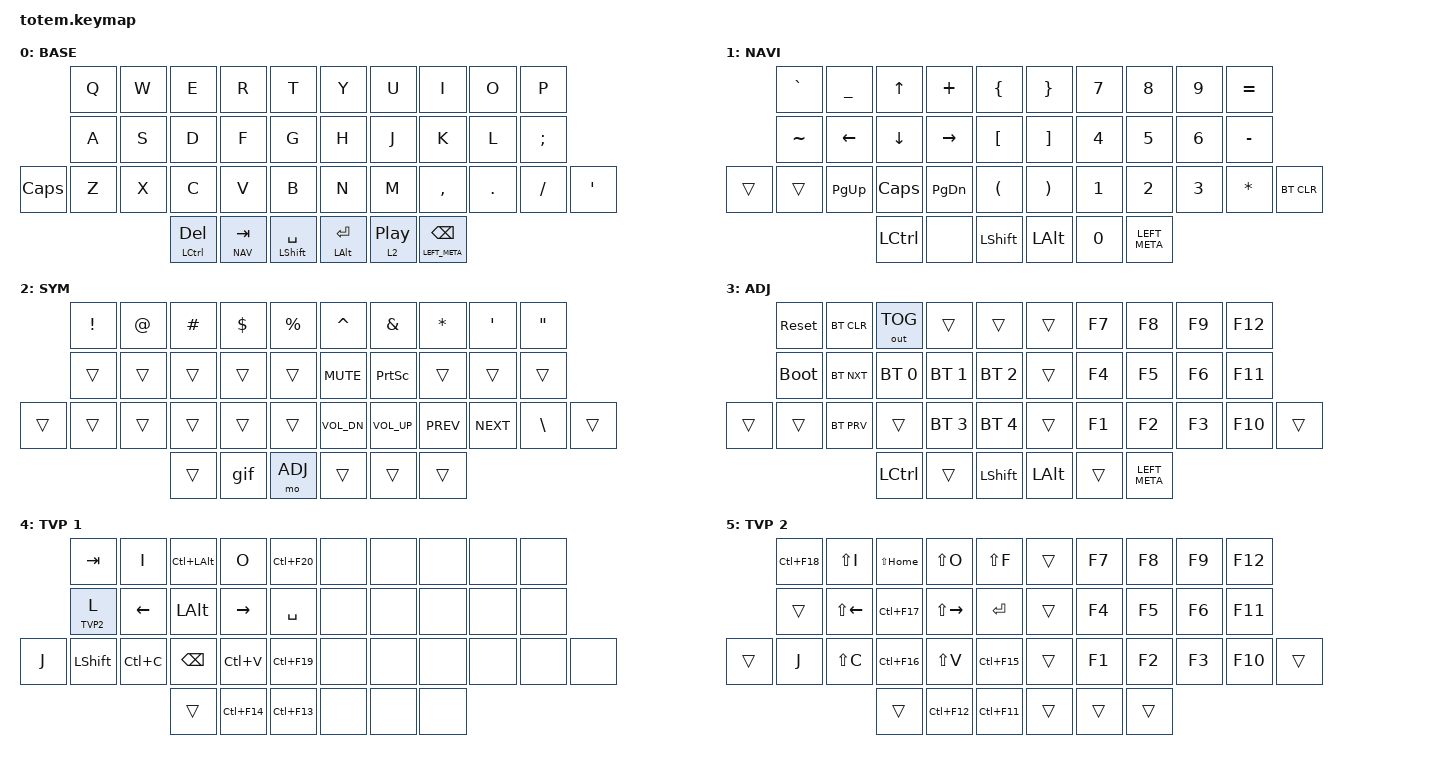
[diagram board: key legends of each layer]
//
//                                                        ▀▀▀▀▀     ▀▀▀▀▀          ▀▀█▀▀
//                                                        ▄▀▀▀▄  ▄  ▄▀▀▀▄  ▄  ▄▀▀▀▄  █  ▄▀▀▀▄
//                                                        █   █  █  █   █  █  █   █  █  █   █
//                                                         ▀▀▀   █   ▀▀▀   █   ▀▀▀   ▀   ▀▀▀
//                                                               █      ▄▄▄█▄▄▄    █   █  
//                                                               ▀      █  █  █     █▄█
//                                                             ▀▀▀▀▀    █  █  █      ▀
//                                                                      ▀  ▀  ▀
//
// ▄▄▄▄▄▄▄▄▄▄▄▄▄▄▄▄▄▄▄▄▄▄▄▄▄▄▄▄▄▄▄▄▄▄▄▄▄▄▄▄▄▄▄▄▄▄▄▄▄▄▄▄▄▄▄▄▄▄▄▄▄▄▄▄▄▄▄▄▄▄▄▄▄▄▄▄▄▄▄▄▄▄▄▄▄▄▄▄▄▄▄▄▄▄▄▄▄▄▄▄▄▄▄▄▄▄▄▄▄▄▄▄▄▄▄▄▄▄▄▄▄▄▄▄▄▄▄▄▄▄▄▄▄▄▄▄▄▄▄▄▄▄▄▄▄▄▄▄▄

#include <behaviors.dtsi>
#include <dt-bindings/zmk/bt.h>
#include <dt-bindings/zmk/keys.h>
#include <dt-bindings/zmk/outputs.h>

#define BASE 0
#define NAV  1
#define SYM  2
#define ADJ  3
#define TVP1 4
#define TVP2 5

&mt {
    quick-tap-ms = <100>;
    global-quick-tap;
    flavor = "tap-preferred";
    tapping-term-ms = <170>;
};

/ {
    combos {
        compatible = "zmk,combos";

        Return {
            bindings = <&kp RET>;
            key-positions = <16 17 18>;
        };
    };

    macros {
        gif: gif {
            label = "giphy";
            compatible = "zmk,behavior-macro";
            #binding-cells = <0>;
            bindings =
                <&macro_press>,
                <&kp LSHFT>,
                <&macro_tap>,
                <&kp N2>,
                <&macro_release>,
                <&kp LSHFT>,
                <&macro_tap>,
                <&kp G &kp I &kp F>;
        };
    };

    keymap {
        compatible = "zmk,keymap";

        // ▄▄▄▄▄▄▄▄▄▄▄▄▄▄▄▄▄▄▄▄▄▄▄▄▄▄▄▄▄▄▄▄▄▄▄▄▄▄▄▄▄▄▄▄▄▄▄▄▄▄▄▄▄▄▄▄▄▄▄▄▄▄▄▄▄▄▄▄▄▄▄▄▄▄▄▄▄▄▄▄▄▄▄▄▄▄▄▄▄▄▄▄▄▄▄▄▄▄▄▄▄▄▄▄▄▄▄▄▄▄▄▄▄▄▄▄▄▄▄▄▄▄▄▄▄▄▄▄▄▄▄▄▄▄▄▄▄▄▄▄▄▄▄▄▄▄▄▄▄

        base_layer {
            // ┏━━━━━━━━━━━━━━━━━━━━━━━━━━━━━━━━━━━━━━━┓

            label = "BASE";

            // ┗━━━━━━━━━━━━━━━━━━━━━━━━━━━━━━━━━━━━━━━┛
            //             ┏━━━━━━━━━━━┳━━━━━━━━━━━┳━━━━━━━━━━━┳━━━━━━━━━━━┳━━━━━━━━━━━┓   ┏━━━━━━━━━━━┳━━━━━━━━━━━┳━━━━━━━━━━━┳━━━━━━━━━━━┳━━━━━━━━━━━┓
            //             ┃     Q     ┃     W     ┃     F     ┃     P     ┃     G     ┃   ┃     J     ┃     L     ┃     U     ┃     Y     ┃     ;     ┃
            //             ┣━━━━━━━━━━━╋━━━━━━━━━━━╋━━━━━━━━━━━╋━━━━━━━━━━━╋━━━━━━━━━━━┫   ┣━━━━━━━━━━━╋━━━━━━━━━━━╋━━━━━━━━━━━╋━━━━━━━━━━━╋━━━━━━━━━━━┫
            //             ┃     A     ┃     R     ┃     S     ┃     T     ┃     D     ┃   ┃     H     ┃     N     ┃     E     ┃     I     ┃     O     ┃
            // ┏━━━━━━━━━━━╋━━━━━━━━━━━╋━━━━━━━━━━━╋━━━━━━━━━━━╋━━━━━━━━━━━╋━━━━━━━━━━━┫   ┣━━━━━━━━━━━╋━━━━━━━━━━━╋━━━━━━━━━━━╋━━━━━━━━━━━╋━━━━━━━━━━━╋━━━━━━━━━━━┓
            // ┃     Q     ┃     Z     ┃     X     ┃     C     ┃     V     ┃     B     ┃   ┃     K     ┃     M     ┃     ,     ┃     .     ┃     /     ┃     \     ┃
            // ┗━━━━━━━━━━━┻━━━━━━━━━━━┻━━━━━━━━━━━╋━━━━━━━━━━━╋━━━━━━━━━━━╋━━━━━━━━━━━┫   ┣━━━━━━━━━━━╋━━━━━━━━━━━╋━━━━━━━━━━━╋━━━━━━━━━━━┻━━━━━━━━━━━┻━━━━━━━━━━━┛
            //                                     ┃    DEL    ┃    TAB    ┃    SPC    ┃   ┃   ENTER   ┃           ┃   BSPC    ┃
            //                                     ┗━━━━━━━━━━━┻━━━━━━━━━━━┻━━━━━━━━━━━┛   ┗━━━━━━━━━━━┻━━━━━━━━━━━┻━━━━━━━━━━━┛

            bindings = <
              &kp Q  &kp W  &kp E             &kp R        &kp T              &kp Y                &kp U       &kp I                    &kp O    &kp P
              &kp A  &kp S  &kp D             &kp F        &kp G              &kp H                &kp J       &kp K                    &kp L    &kp SEMICOLON
&kp CAPSLOCK  &kp Z  &kp X  &kp C             &kp V        &kp B              &kp N                &kp M       &kp COMMA                &kp DOT  &kp FSLH       &kp SQT
                            &mt LCTRL DELETE  &lt NAV TAB  &mt LSHFT SPACE    &mt LEFT_ALT RETURN  &lt 2 C_PP  &mt LEFT_META BACKSPACE
            >;
        };

        // ▄▄▄▄▄▄▄▄▄▄▄▄▄▄▄▄▄▄▄▄▄▄▄▄▄▄▄▄▄▄▄▄▄▄▄▄▄▄▄▄▄▄▄▄▄▄▄▄▄▄▄▄▄▄▄▄▄▄▄▄▄▄▄▄▄▄▄▄▄▄▄▄▄▄▄▄▄▄▄▄▄▄▄▄▄▄▄▄▄▄▄▄▄▄▄▄▄▄▄▄▄▄▄▄▄▄▄▄▄▄▄▄▄▄▄▄▄▄▄▄▄▄▄▄▄▄▄▄▄▄▄▄▄▄▄▄▄▄▄▄▄▄▄▄▄▄▄▄▄

        nav_layer {
            // ┏━━━━━━━━━━━━━━━━━━━━━━━━━━━━━━━━━━━━━━━┓

            label = "NAVI";

            // ┗━━━━━━━━━━━━━━━━━━━━━━━━━━━━━━━━━━━━━━━┛
            //             ┏━━━━━━━━━━━┳━━━━━━━━━━━┳━━━━━━━━━━━┳━━━━━━━━━━━┳━━━━━━━━━━━┓   ┏━━━━━━━━━━━┳━━━━━━━━━━━┳━━━━━━━━━━━┳━━━━━━━━━━━┳━━━━━━━━━━━┓
            //             ┃           ┃           ┃     UP    ┃           ┃     {     ┃   ┃     }     ┃     7     ┃     8     ┃     9     ┃     +     ┃
            //             ┣━━━━━━━━━━━╋━━━━━━━━━━━╋━━━━━━━━━━━╋━━━━━━━━━━━╋━━━━━━━━━━━┫   ┣━━━━━━━━━━━╋━━━━━━━━━━━╋━━━━━━━━━━━╋━━━━━━━━━━━╋━━━━━━━━━━━┫
            //             ┃   SHIFT   ┃   LEFT    ┃    DOWN   ┃   RIGHT   ┃     [     ┃   ┃     ]     ┃     4     ┃     5     ┃     6     ┃     -     ┃
            // ┏━━━━━━━━━━━╋━━━━━━━━━━━╋━━━━━━━━━━━╋━━━━━━━━━━━╋━━━━━━━━━━━╋━━━━━━━━━━━┫   ┣━━━━━━━━━━━╋━━━━━━━━━━━╋━━━━━━━━━━━╋━━━━━━━━━━━╋━━━━━━━━━━━╋━━━━━━━━━━━┓
            // ┃           ┃           ┃   P UP    ┃  C LOCK   ┃  P DOWN   ┃     (     ┃   ┃     )     ┃     1     ┃     2     ┃     3     ┃     *     ┃           ┃
            // ┗━━━━━━━━━━━┻━━━━━━━━━━━┻━━━━━━━━━━━╋━━━━━━━━━━━╋━━━━━━━━━━━╋━━━━━━━━━━━┫   ┣━━━━━━━━━━━╋━━━━━━━━━━━╋━━━━━━━━━━━╋━━━━━━━━━━━┻━━━━━━━━━━━┻━━━━━━━━━━━┛
            //                                     ┃           ┃    TAB    ┃    SPC    ┃   ┃    DEL    ┃     0     ┃           ┃
            //                                     ┗━━━━━━━━━━━┻━━━━━━━━━━━┻━━━━━━━━━━━┛   ┗━━━━━━━━━━━┻━━━━━━━━━━━┻━━━━━━━━━━━┛

            bindings = <
        &kp GRAVE  &kp UNDERSCORE  &kp UP     &kp PLUS   &kp LEFT_BRACE          &kp RIGHT_BRACE        &kp N7        &kp N8         &kp N9        &kp EQUAL
        &kp TILDE  &kp LEFT        &kp DOWN   &kp RIGHT  &kp LEFT_BRACKET        &kp RIGHT_BRACKET      &kp NUMBER_4  &kp N5         &kp NUMBER_6  &kp MINUS
&trans  &trans     &kp PG_UP       &kp CAPS   &kp PG_DN  &kp LEFT_PARENTHESIS    &kp RIGHT_PARENTHESIS  &kp NUMBER_1  &kp NUMBER_2   &kp NUMBER_3  &kp ASTERISK  &bt BT_CLR
                                   &kp LCTRL  &none      &kp LEFT_SHIFT          &kp LEFT_ALT           &kp N0        &kp LEFT_META
            >;
        };

        // ▄▄▄▄▄▄▄▄▄▄▄▄▄▄▄▄▄▄▄▄▄▄▄▄▄▄▄▄▄▄▄▄▄▄▄▄▄▄▄▄▄▄▄▄▄▄▄▄▄▄▄▄▄▄▄▄▄▄▄▄▄▄▄▄▄▄▄▄▄▄▄▄▄▄▄▄▄▄▄▄▄▄▄▄▄▄▄▄▄▄▄▄▄▄▄▄▄▄▄▄▄▄▄▄▄▄▄▄▄▄▄▄▄▄▄▄▄▄▄▄▄▄▄▄▄▄▄▄▄▄▄▄▄▄▄▄▄▄▄▄▄▄▄▄▄▄▄▄▄

        sim_layer {
            // ┏━━━━━━━━━━━━━━━━━━━━━━━━━━━━━━━━━━━━━━━┓

            label = "SYM";

            // ┗━━━━━━━━━━━━━━━━━━━━━━━━━━━━━━━━━━━━━━━┛
            //             ┏━━━━━━━━━━━┳━━━━━━━━━━━┳━━━━━━━━━━━┳━━━━━━━━━━━┳━━━━━━━━━━━┓   ┏━━━━━━━━━━━┳━━━━━━━━━━━┳━━━━━━━━━━━┳━━━━━━━━━━━┳━━━━━━━━━━━┓
            //             ┃     !     ┃     @     ┃     #     ┃     $     ┃     %     ┃   ┃     ˆ     ┃     &     ┃     Ü     ┃     '     ┃     "     ┃
            //             ┣━━━━━━━━━━━╋━━━━━━━━━━━╋━━━━━━━━━━━╋━━━━━━━━━━━╋━━━━━━━━━━━┫   ┣━━━━━━━━━━━╋━━━━━━━━━━━╋━━━━━━━━━━━╋━━━━━━━━━━━╋━━━━━━━━━━━┫
            //             ┃     Ä     ┃           ┃    SZ     ┃           ┃           ┃   ┃   MUTE    ┃   YEN     ┃   EURO    ┃  POUND    ┃     Ö     ┃
            // ┏━━━━━━━━━━━╋━━━━━━━━━━━╋━━━━━━━━━━━╋━━━━━━━━━━━╋━━━━━━━━━━━╋━━━━━━━━━━━┫   ┣━━━━━━━━━━━╋━━━━━━━━━━━╋━━━━━━━━━━━╋━━━━━━━━━━━╋━━━━━━━━━━━╋━━━━━━━━━━━┓
            // ┃           ┃  EMAIL1   ┃  EMAIL2   ┃           ┃           ┃           ┃   ┃   VOL-    ┃   VOL+    ┃   LAST    ┃   NEXT    ┃     \     ┃           ┃
            // ┗━━━━━━━━━━━┻━━━━━━━━━━━┻━━━━━━━━━━━╋━━━━━━━━━━━╋━━━━━━━━━━━╋━━━━━━━━━━━┫   ┣━━━━━━━━━━━╋━━━━━━━━━━━╋━━━━━━━━━━━╋━━━━━━━━━━━┻━━━━━━━━━━━┻━━━━━━━━━━━┛
            //                                     ┃           ┃    GIF    ┃    ADJ    ┃   ┃           ┃           ┃           ┃
            //                                     ┗━━━━━━━━━━━┻━━━━━━━━━━━┻━━━━━━━━━━━┛   ┗━━━━━━━━━━━┻━━━━━━━━━━━┻━━━━━━━━━━━┛

            bindings = <
        &kp EXCL  &kp AT  &kp HASH  &kp DLLR  &kp PRCNT    &kp CARET     &kp AMPS      &kp ASTERISK  &kp SQT     &kp DQT
        &trans    &trans  &trans    &trans    &trans       &kp C_MUTE    &kp PSCRN     &trans        &trans      &trans
&trans  &trans    &trans  &trans    &trans    &trans       &kp C_VOL_DN  &kp C_VOL_UP  &kp C_PREV    &kp C_NEXT  &kp BSLH  &trans
                          &trans    &gif      &mo ADJ      &trans        &trans        &trans
            >;
        };

        // ▄▄▄▄▄▄▄▄▄▄▄▄▄▄▄▄▄▄▄▄▄▄▄▄▄▄▄▄▄▄▄▄▄▄▄▄▄▄▄▄▄▄▄▄▄▄▄▄▄▄▄▄▄▄▄▄▄▄▄▄▄▄▄▄▄▄▄▄▄▄▄▄▄▄▄▄▄▄▄▄▄▄▄▄▄▄▄▄▄▄▄▄▄▄▄▄▄▄▄▄▄▄▄▄▄▄▄▄▄▄▄▄▄▄▄▄▄▄▄▄▄▄▄▄▄▄▄▄▄▄▄▄▄▄▄▄▄▄▄▄▄▄▄▄▄▄▄▄▄

        adjust_layer {
            // ┏━━━━━━━━━━━━━━━━━━━━━━━━━━━━━━━━━━━━━━━┓

            label = "ADJ";

            // ┗━━━━━━━━━━━━━━━━━━━━━━━━━━━━━━━━━━━━━━━┛
            //             ┏━━━━━━━━━━━┳━━━━━━━━━━━┳━━━━━━━━━━━┳━━━━━━━━━━━┳━━━━━━━━━━━┓   ┏━━━━━━━━━━━┳━━━━━━━━━━━┳━━━━━━━━━━━┳━━━━━━━━━━━┳━━━━━━━━━━━┓
            //             ┃   RESET   ┃ BT CLEAR  ┃  OUT TOG  ┃           ┃           ┃   ┃           ┃    F7     ┃    F8     ┃    F9     ┃    F12    ┃
            //             ┣━━━━━━━━━━━╋━━━━━━━━━━━╋━━━━━━━━━━━╋━━━━━━━━━━━╋━━━━━━━━━━━┫   ┣━━━━━━━━━━━╋━━━━━━━━━━━╋━━━━━━━━━━━╋━━━━━━━━━━━╋━━━━━━━━━━━┫
            //             ┃ BOOTLOAD  ┃ BT NEXT   ┃           ┃           ┃           ┃   ┃           ┃    F4     ┃    F5     ┃    F6     ┃    F11    ┃
            // ┏━━━━━━━━━━━╋━━━━━━━━━━━╋━━━━━━━━━━━╋━━━━━━━━━━━╋━━━━━━━━━━━╋━━━━━━━━━━━┫   ┣━━━━━━━━━━━╋━━━━━━━━━━━╋━━━━━━━━━━━╋━━━━━━━━━━━╋━━━━━━━━━━━╋━━━━━━━━━━━┓
            // ┃           ┃           ┃ BT PREV   ┃           ┃           ┃           ┃   ┃           ┃    F1     ┃    F2     ┃    F3     ┃    F10    ┃           ┃
            // ┗━━━━━━━━━━━┻━━━━━━━━━━━┻━━━━━━━━━━━╋━━━━━━━━━━━╋━━━━━━━━━━━╋━━━━━━━━━━━┫   ┣━━━━━━━━━━━╋━━━━━━━━━━━╋━━━━━━━━━━━╋━━━━━━━━━━━┻━━━━━━━━━━━┻━━━━━━━━━━━┛
            //                                     ┃           ┃           ┃           ┃   ┃           ┃           ┃           ┃
            //                                     ┗━━━━━━━━━━━┻━━━━━━━━━━━┻━━━━━━━━━━━┛   ┗━━━━━━━━━━━┻━━━━━━━━━━━┻━━━━━━━━━━━┛

            bindings = <
        &sys_reset   &bt BT_CLR  &out OUT_TOG  &trans        &trans          &trans    &kp F7  &kp F8         &kp F9  &kp F12
        &bootloader  &bt BT_NXT  &bt BT_SEL 0  &bt BT_SEL 1  &bt BT_SEL 2    &trans    &kp F4  &kp F5         &kp F6  &kp F11
&trans  &trans       &bt BT_PRV  &trans        &bt BT_SEL 3  &bt BT_SEL 4    &trans    &kp F1  &kp F2         &kp F3  &kp F10  &trans
                                 &kp LCTRL     &trans        &kp LSHIFT      &kp LALT  &trans  &kp LEFT_META
            >;
        };

        // ▄▄▄▄▄▄▄▄▄▄▄▄▄▄▄▄▄▄▄▄▄▄▄▄▄▄▄▄▄▄▄▄▄▄▄▄▄▄▄▄▄▄▄▄▄▄▄▄▄▄▄▄▄▄▄▄▄▄▄▄▄▄▄▄▄▄▄▄▄▄▄▄▄▄▄▄▄▄▄▄▄▄▄▄▄▄▄▄▄▄▄▄▄▄▄▄▄▄▄▄▄▄▄▄▄▄▄▄▄▄▄▄▄▄▄▄▄▄▄▄▄▄▄▄▄▄▄▄▄▄▄▄▄▄▄▄▄▄▄▄▄▄▄▄▄▄▄▄▄

        tvp1_layer {
            // ┏━━━━━━━━━━━━━━━━━━━━━━━━━━━━━━━━━━━━━━━┓

            label = "TVP 1";

            // ┗━━━━━━━━━━━━━━━━━━━━━━━━━━━━━━━━━━━━━━━┛
            //             ┏━━━━━━━━━━━┳━━━━━━━━━━━┳━━━━━━━━━━━┳━━━━━━━━━━━┳━━━━━━━━━━━┓   ┏━━━━━━━━━━━┳━━━━━━━━━━━┳━━━━━━━━━━━┳━━━━━━━━━━━┳━━━━━━━━━━━┓
            //             ┃ NEXT FILE ┃ MARK IN   ┃ ROTATE    ┃ MARK OUT  ┃ SHOW SNAP ┃   ┃           ┃           ┃           ┃           ┃           ┃
            //             ┣━━━━━━━━━━━╋━━━━━━━━━━━╋━━━━━━━━━━━╋━━━━━━━━━━━╋━━━━━━━━━━━┫   ┣━━━━━━━━━━━╋━━━━━━━━━━━╋━━━━━━━━━━━╋━━━━━━━━━━━╋━━━━━━━━━━━┫
            //             ┃ TVP II    ┃ LEFT      ┃ PAN       ┃ RIGHT     ┃ PLAY/FLIP ┃   ┃           ┃           ┃           ┃           ┃           ┃
            // ┏━━━━━━━━━━━╋━━━━━━━━━━━╋━━━━━━━━━━━╋━━━━━━━━━━━╋━━━━━━━━━━━╋━━━━━━━━━━━┫   ┣━━━━━━━━━━━╋━━━━━━━━━━━╋━━━━━━━━━━━╋━━━━━━━━━━━╋━━━━━━━━━━━╋━━━━━━━━━━━┓
            // ┃ FULLSCR   ┃ SHIFT     ┃ COPY      ┃ DELETE    ┃ PASTE     ┃ IMG MARK  ┃   ┃           ┃           ┃           ┃           ┃           ┃           ┃
            // ┗━━━━━━━━━━━┻━━━━━━━━━━━┻━━━━━━━━━━━╋━━━━━━━━━━━╋━━━━━━━━━━━╋━━━━━━━━━━━┫   ┣━━━━━━━━━━━╋━━━━━━━━━━━╋━━━━━━━━━━━╋━━━━━━━━━━━┻━━━━━━━━━━━┻━━━━━━━━━━━┛
            //                                     ┃           ┃ UNDO/SAVE ┃  SEL/MOV  ┃   ┃           ┃           ┃           ┃
            //                                     ┗━━━━━━━━━━━┻━━━━━━━━━━━┻━━━━━━━━━━━┛   ┗━━━━━━━━━━━┻━━━━━━━━━━━┻━━━━━━━━━━━┛

            bindings = <
       &kp TAB     &kp I      &kp LC(LALT)  &kp O        &kp LC(F20)    &none  &none  &none  &none  &none
       &lt TVP2 L  &kp LEFT   &kp LALT      &kp RIGHT    &kp SPACE      &none  &none  &none  &none  &none
&kp J  &kp LSHFT   &kp LC(C)  &kp BSPC      &kp LC(V)    &kp LC(F19)    &none  &none  &none  &none  &none  &none
                              &trans        &kp LC(F14)  &kp LC(F13)    &none  &none  &none
            >;
        };

        // ▄▄▄▄▄▄▄▄▄▄▄▄▄▄▄▄▄▄▄▄▄▄▄▄▄▄▄▄▄▄▄▄▄▄▄▄▄▄▄▄▄▄▄▄▄▄▄▄▄▄▄▄▄▄▄▄▄▄▄▄▄▄▄▄▄▄▄▄▄▄▄▄▄▄▄▄▄▄▄▄▄▄▄▄▄▄▄▄▄▄▄▄▄▄▄▄▄▄▄▄▄▄▄▄▄▄▄▄▄▄▄▄▄▄▄▄▄▄▄▄▄▄▄▄▄▄▄▄▄▄▄▄▄▄▄▄▄▄▄▄▄▄▄▄▄▄▄▄▄

        tvp2_layer {
            // ┏━━━━━━━━━━━━━━━━━━━━━━━━━━━━━━━━━━━━━━━┓

            label = "TVP 2";

            // ┗━━━━━━━━━━━━━━━━━━━━━━━━━━━━━━━━━━━━━━━┛
            //             ┏━━━━━━━━━━━┳━━━━━━━━━━━┳━━━━━━━━━━━┳━━━━━━━━━━━┳━━━━━━━━━━━┓   ┏━━━━━━━━━━━┳━━━━━━━━━━━┳━━━━━━━━━━━┳━━━━━━━━━━━┳━━━━━━━━━━━┓
            //             ┃ SOLO      ┃ TOGGLE IN ┃ RESET ROT ┃ TOGGLE OUT┃ TAKE SNAP ┃   ┃           ┃           ┃           ┃           ┃           ┃
            //             ┣━━━━━━━━━━━╋━━━━━━━━━━━╋━━━━━━━━━━━╋━━━━━━━━━━━╋━━━━━━━━━━━┫   ┣━━━━━━━━━━━╋━━━━━━━━━━━╋━━━━━━━━━━━╋━━━━━━━━━━━╋━━━━━━━━━━━┫
            //             ┃ ---       ┃ LAST KEY  ┃ NEW KEY   ┃ NEXT KEY  ┃ ENTER     ┃   ┃           ┃           ┃           ┃           ┃           ┃
            // ┏━━━━━━━━━━━╋━━━━━━━━━━━╋━━━━━━━━━━━╋━━━━━━━━━━━╋━━━━━━━━━━━╋━━━━━━━━━━━┫   ┣━━━━━━━━━━━╋━━━━━━━━━━━╋━━━━━━━━━━━╋━━━━━━━━━━━╋━━━━━━━━━━━╋━━━━━━━━━━━┓
            // ┃           ┃ FULLSCR   ┃ CPY2BRUSH ┃ DEL HEAD  ┃ PSTinPLACE┃ BOOK MARK ┃   ┃           ┃           ┃           ┃           ┃           ┃           ┃
            // ┗━━━━━━━━━━━┻━━━━━━━━━━━┻━━━━━━━━━━━╋━━━━━━━━━━━╋━━━━━━━━━━━╋━━━━━━━━━━━┫   ┣━━━━━━━━━━━╋━━━━━━━━━━━╋━━━━━━━━━━━╋━━━━━━━━━━━┻━━━━━━━━━━━┻━━━━━━━━━━━┛
            //                                     ┃           ┃ REDO/SAV1 ┃TRANS/WARP ┃   ┃           ┃           ┃           ┃
            //                                     ┗━━━━━━━━━━━┻━━━━━━━━━━━┻━━━━━━━━━━━┛   ┗━━━━━━━━━━━┻━━━━━━━━━━━┻━━━━━━━━━━━┛

            bindings = <
        &kp LC(F18)  &kp LS(I)     &kp LS(HOME)  &kp LS(O)      &kp LS(F)      &trans  &kp F7  &kp F8  &kp F9  &kp F12
        &trans       &kp LS(LEFT)  &kp LC(F17)   &kp LS(RIGHT)  &kp RET        &trans  &kp F4  &kp F5  &kp F6  &kp F11
&trans  &kp J        &kp LS(C)     &kp LC(F16)   &kp LS(V)      &kp LC(F15)    &trans  &kp F1  &kp F2  &kp F3  &kp F10  &trans
                                   &trans        &kp LC(F12)    &kp LC(F11)    &trans  &trans  &trans
            >;
        };
    };
};
